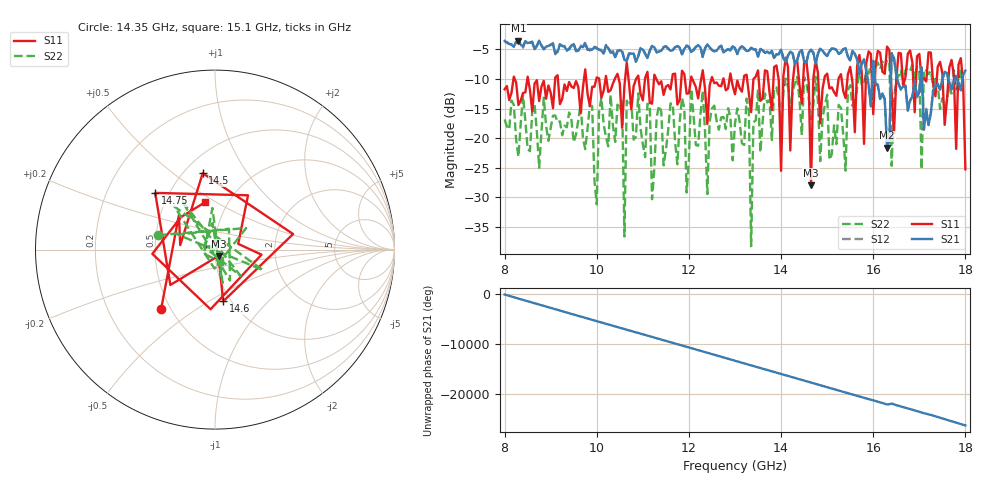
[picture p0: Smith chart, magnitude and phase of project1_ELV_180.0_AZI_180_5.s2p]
! 10/29/2026 4:47:47 PM
! C:\ANRITSUVNA\TEMP\TEMP.S2P
! CHANNEL.1
! TR.MEASUREMENT
! RAW.DATA
# HZ S RI R 50.0
! FREQ.HZ  S11RE  S11IM  S21RE  S21IM  S12RE  S12IM  S22RE  S22IM
!; PortSelection: Port_12
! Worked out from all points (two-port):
!   201 points, 8 GHz to 18 GHz, reference 50 ohm
!   highest |S21| = -3.53 dB at 8.3 GHz (marker M1); lowest = -21.6 dB at 16.3 GHz (marker M2)
!   |S21| within 3 dB of the highest: start of sweep to 10.59 GHz; 10.88 GHz to 14.05 GHz (3.169 GHz wide, 25.4 % of centre) (the widest 2 of 9)
!   lowest |S11| = -28.0 dB at 14.65 GHz (marker M3), VSWR 1.08, Z = 51.9 - j3.62 ohm
!   |S11| at or under -10 dB: 8.508 GHz to 9.097 GHz (589.1 MHz wide, 6.69 % of centre); 9.156 GHz to 9.723 GHz (567.1 MHz wide, 6.01 % of centre); 11.29 GHz to 11.63 GHz (343.3 MHz wide, 3 % of centre) (the widest 3 of 41)
!   |S22| runs from -38.2 to -6.8 dB; largest |S21 - S12| = 0.29
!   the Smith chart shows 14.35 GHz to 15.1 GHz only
!   S11 on the Smith chart (normalised r, x): 14.35 GHz: 0.44, -0.37; 14.5 GHz: 0.62, +0.64; 14.6 GHz: 0.92, -0.58; 14.75 GHz: 0.42, +0.34; 15.1 GHz: 0.78, +0.44
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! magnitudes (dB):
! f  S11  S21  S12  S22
! 8 GHz  -11.8  -3.6  -3.7  -16.8
! 8.3 GHz  -14.4  -3.5  -3.5  -23.1
! 9.7 GHz  -11.4  -4.6  -4.7  -20.0
! 10.55 GHz  -18.2  -5.4  -5.3  -13.6
! 10.6 GHz  -11.2  -6.8  -6.7  -36.6
! 10.65 GHz  -7.3  -7.0  -6.9  -13.7
! 11.35 GHz  -10.9  -5.4  -5.4  -14.5
! 13 GHz  -12.6  -4.8  -4.9  -17.5
! 13.3 GHz  -12.5  -5.3  -5.3  -15.4
! 13.35 GHz  -15.6  -4.8  -4.7  -38.2
! 13.5 GHz  -8.6  -6.2  -6.2  -11.7
! 14 GHz  -25.5  -5.1  -5.1  -17.6
! 14.35 GHz  -7.0  -6.9  -6.8  -9.7
! 14.5 GHz  -7.3  -7.1  -7.1  -9.6
! 14.6 GHz  -10.7  -5.6  -5.5  -13.1
! 14.65 GHz  -28.0  -5.1  -5.1  -17.1
! 14.7 GHz  -10.0  -5.5  -5.7  -14.3
! 14.75 GHz  -6.8  -7.5  -7.4  -9.6
! 15.1 GHz  -11.4  -4.9  -4.9  -22.7
! 16.3 GHz  -4.6  -21.6  -21.5  -6.8
! 16.35 GHz  -5.2  -20.3  -20.4  -7.3
! 18 GHz  -25.2  -8.6  -8.8  -12.7
